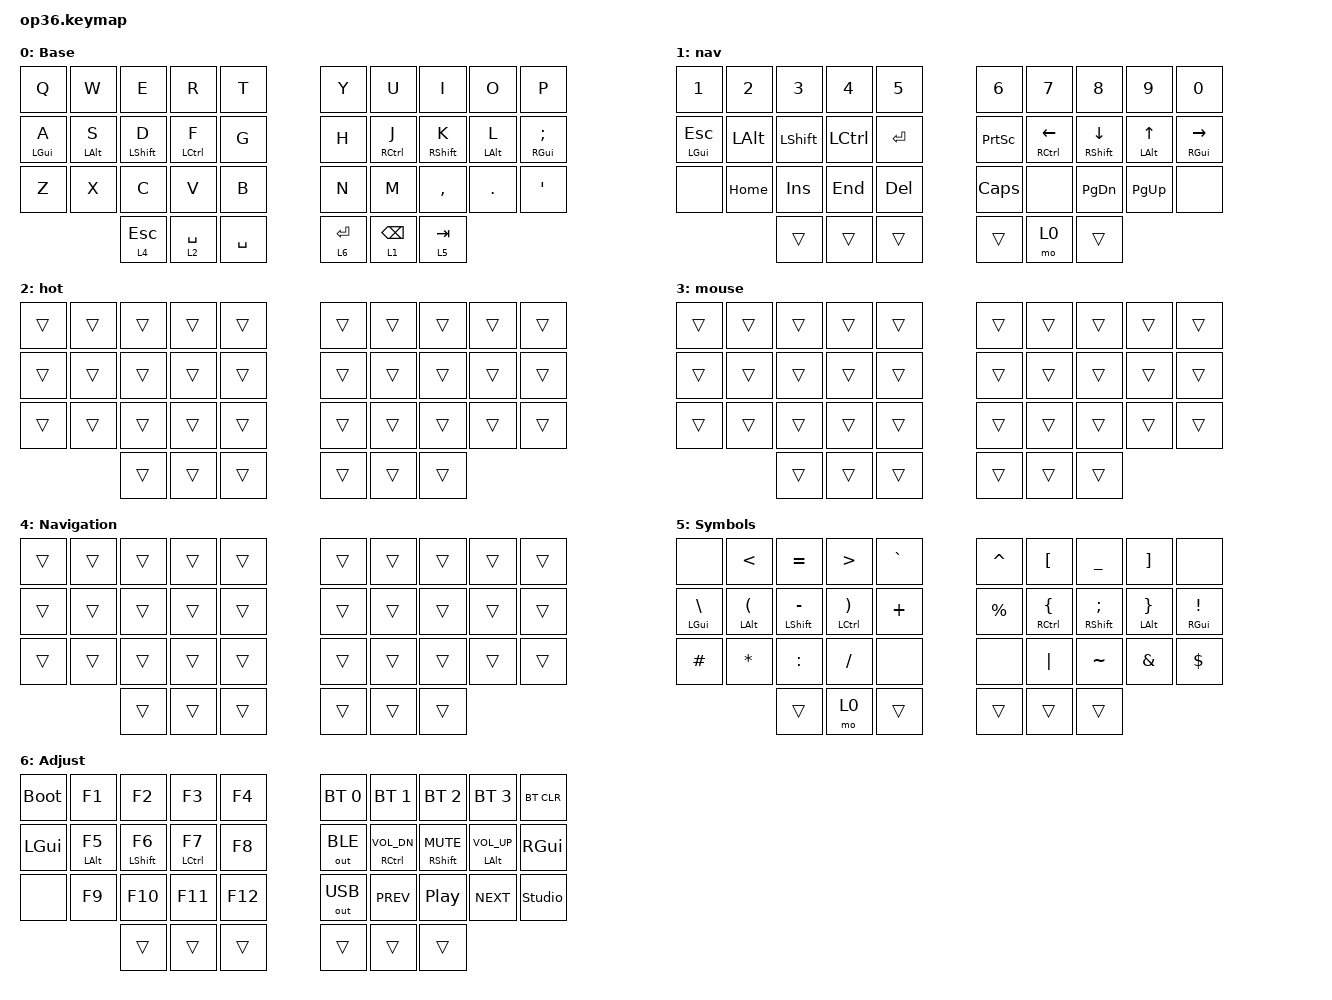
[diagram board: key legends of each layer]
#define ZMK_POINTING_DEFAULT_MOVE_VAL 6000  // default: 600
#define ZMK_POINTING_DEFAULT_SCRL_VAL 20    // default: 10

#include <dt-bindings/zmk/pointing.h>
#include "keys_ru.h"
#include <behaviors.dtsi>
#include <dt-bindings/zmk/bt.h>
#include <dt-bindings/zmk/keys.h>
#include <dt-bindings/zmk/outputs.h>

&mt {
    quick-tap-ms = <200>;
    flavor = "tap-preferred";
    require-prior-idle-ms = <125>;
};

/ {
    behaviors {
        hml: home_row_mod_left {
            compatible = "zmk,behavior-hold-tap";
            #binding-cells = <2>;
            flavor = "balanced";
            require-prior-idle-ms = <150>;
            tapping-term-ms = <280>;
            quick-tap-ms = <175>;
            bindings = <&kp>, <&kp>;

            hold-trigger-key-positions = <5 6 7 8 9 15 16 17 18 19 25 26 27 28 29 33 34 35>;
            hold-trigger-on-release;
        };

        hmr: home_row_mod_right {
            compatible = "zmk,behavior-hold-tap";
            #binding-cells = <2>;
            flavor = "balanced";
            require-prior-idle-ms = <150>;
            tapping-term-ms = <280>;
            quick-tap-ms = <175>;
            bindings = <&kp>, <&kp>;

            hold-trigger-key-positions = <0 1 2 3 4 10 11 12 13 14 20 21 22 23 24 30 31 32>;
            hold-trigger-on-release;
        };
    };

    combos {
        compatible = "zmk,combos";

        kha {
            bindings = <&kp LBKT>;
            key-positions = <6 7>;
        };

        hrdsgn {
            bindings = <&kp RBKT>;
            key-positions = <7 8>;
        };
    };

    keymap {
        compatible = "zmk,keymap";

        base {
            bindings = <
  &kp Q        &kp W        &kp E         &kp R         &kp T                                  &kp Y            &kp U         &kp I         &kp O        &kp P
  &hml LGUI A  &hml LALT S  &hml LSHFT D  &hml LCTRL F  &kp G                                  &kp H            &hmr RCTRL J  &hmr RSHFT K  &hmr LALT L  &hmr RGUI SEMICOLON
  &kp Z        &kp X        &kp C         &kp V         &kp B                                  &kp N            &kp M         &kp COMMA     &kp DOT      &kp SQT
                                          &lt 4 ESC     &lt 2 SPACE  &kp SPACE    &lt 6 ENTER  &lt 1 BACKSPACE  &lt 5 TAB
            >;

            display-name = "Base";
        };

        nav {
            bindings = <
  &kp N1         &kp N2    &kp N3     &kp N4     &kp N5                        &kp N6           &kp N7           &kp N8           &kp N9        &kp N0
  &hml LGUI ESC  &kp LALT  &kp LSHFT  &kp LCTRL  &kp ENTER                     &kp PRINTSCREEN  &hmr RCTRL LEFT  &hmr RSHFT DOWN  &hmr LALT UP  &hmr RGUI RIGHT
  &none          &kp HOME  &kp INS    &kp END    &kp DELETE                    &kp CAPS         &none            &kp PG_DN        &kp PG_UP     &none
                                      &trans     &trans      &trans    &trans  &mo 0            &trans
            >;
        };

        hot {
            bindings = <
  &trans  &trans  &trans  &trans  &trans                    &trans  &trans  &trans  &trans  &trans
  &trans  &trans  &trans  &trans  &trans                    &trans  &trans  &trans  &trans  &trans
  &trans  &trans  &trans  &trans  &trans                    &trans  &trans  &trans  &trans  &trans
                          &trans  &trans  &trans    &trans  &trans  &trans
            >;
        };

        mouse {
            bindings = <
  &trans  &trans  &trans  &trans  &trans                    &trans  &trans  &trans  &trans  &trans
  &trans  &trans  &trans  &trans  &trans                    &trans  &trans  &trans  &trans  &trans
  &trans  &trans  &trans  &trans  &trans                    &trans  &trans  &trans  &trans  &trans
                          &trans  &trans  &trans    &trans  &trans  &trans
            >;
        };

        insert {
            bindings = <
  &trans  &trans  &trans  &trans  &trans                    &trans  &trans  &trans  &trans  &trans
  &trans  &trans  &trans  &trans  &trans                    &trans  &trans  &trans  &trans  &trans
  &trans  &trans  &trans  &trans  &trans                    &trans  &trans  &trans  &trans  &trans
                          &trans  &trans  &trans    &trans  &trans  &trans
            >;

            display-name = "Navigation";
        };

        sym {
            bindings = <
  &none           &kp LT          &kp EQUAL         &kp GT           &kp GRAVE                    &kp CARET  &kp LBKT         &kp UNDER        &kp RBKT        &none
  &hml LGUI BSLH  &hml LALT LPAR  &hml LSHFT MINUS  &hml LCTRL RPAR  &kp PLUS                     &kp PRCNT  &hmr RCTRL LBRC  &hmr RSHFT SEMI  &hmr LALT RBRC  &hmr RGUI EXCL
  &kp HASH        &kp STAR        &kp COLON         &kp FSLH         &none                        &none      &kp PIPE         &kp TILDE        &kp AMPS        &kp DLLR
                                                    &trans           &mo 0      &trans    &trans  &trans     &trans
            >;

            display-name = "Symbols";
        };

        adj {
            bindings = <
  &bootloader  &kp F1        &kp F2         &kp F3         &kp F4                     &bt BT_SEL 0  &bt BT_SEL 1         &bt BT_SEL 2       &bt BT_SEL 3        &bt BT_CLR
  &kp LGUI     &hml LALT F5  &hml LSHFT F6  &hml LCTRL F7  &kp F8                     &out OUT_BLE  &hmr RCTRL C_VOL_DN  &hmr RSHFT C_MUTE  &hmr LALT C_VOL_UP  &kp RGUI
  &none        &kp F9        &kp F10        &kp F11        &kp F12                    &out OUT_USB  &kp C_PREV           &kp C_PP           &kp C_NEXT          &studio_unlock
                                            &trans         &trans   &trans    &trans  &trans        &trans
            >;

            display-name = "Adjust";
        };
    };
};
